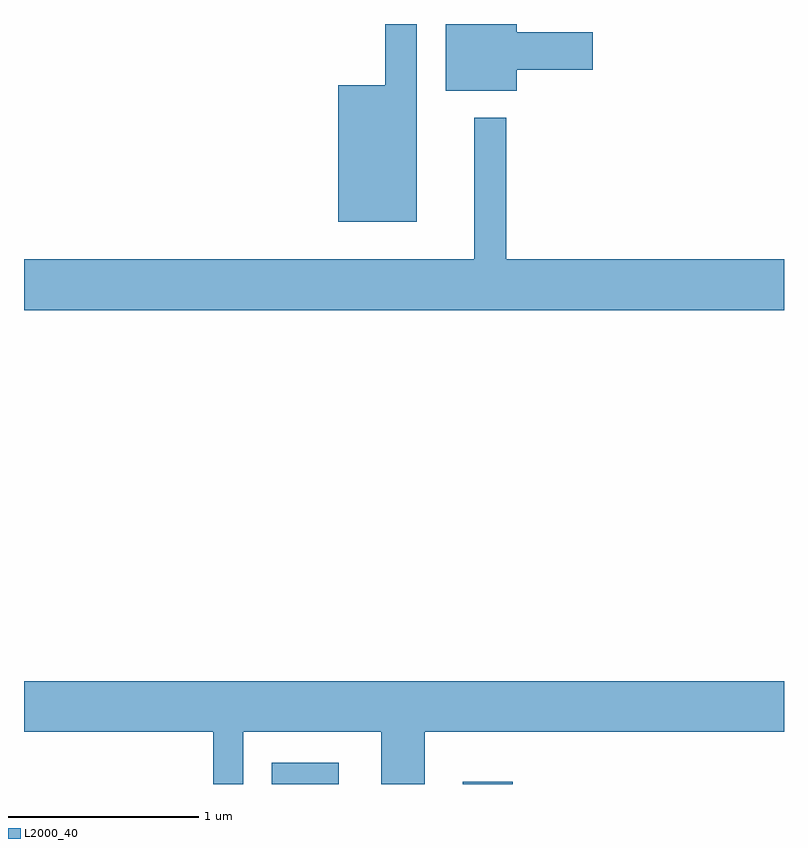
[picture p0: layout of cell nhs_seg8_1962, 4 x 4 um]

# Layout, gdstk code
import gdstk
lib = gdstk.Library(unit=1e-6, precision=1e-09)
def R(c, l, rs):  # rectangles x0, y0, x1, y1
    for r in rs: c.add(gdstk.rectangle(r[:2], r[2:], *l))
def P(c, l, *ps):  # polygons
    for p in ps: c.add(gdstk.Polygon(p, *l))
L2000_40 = (2000, 40)

nhs_seg8_1962 = lib.new_cell('nhs_seg8_1962')
R(nhs_seg8_1962, L2000_40, [(244.916,1858.342,245.268,1858.454), (245.921,1858.342,246.184,1858.354)])
P(nhs_seg8_1962, L2000_40, [(245.679,1862.342),(245.511,1862.342),(245.511,1862.019),(245.266,1862.019),(245.266,1861.301),(245.679,1861.301)],
  [(246.204,1862.101),(246.604,1862.101),(246.604,1862.299),(246.204,1862.299),(246.204,1862.342),(245.831,1862.342),(245.831,1861.991),(246.204,1861.991)],
  [(247.611,1861.104),(246.149,1861.104),(246.149,1861.848),(245.981,1861.848),(245.981,1861.104),(243.611,1861.104),(243.611,1860.836),(247.611,1860.836)],
  [(244.764,1858.616),(245.491,1858.616),(245.491,1858.342),(245.719,1858.342),(245.719,1858.616),(247.611,1858.616),(247.611,1858.884),(243.611,1858.884),(243.611,1858.616),(244.606,1858.616),(244.606,1858.342),(244.764,1858.342)])

lib.write_gds('nhs_seg8_1962.gds')
